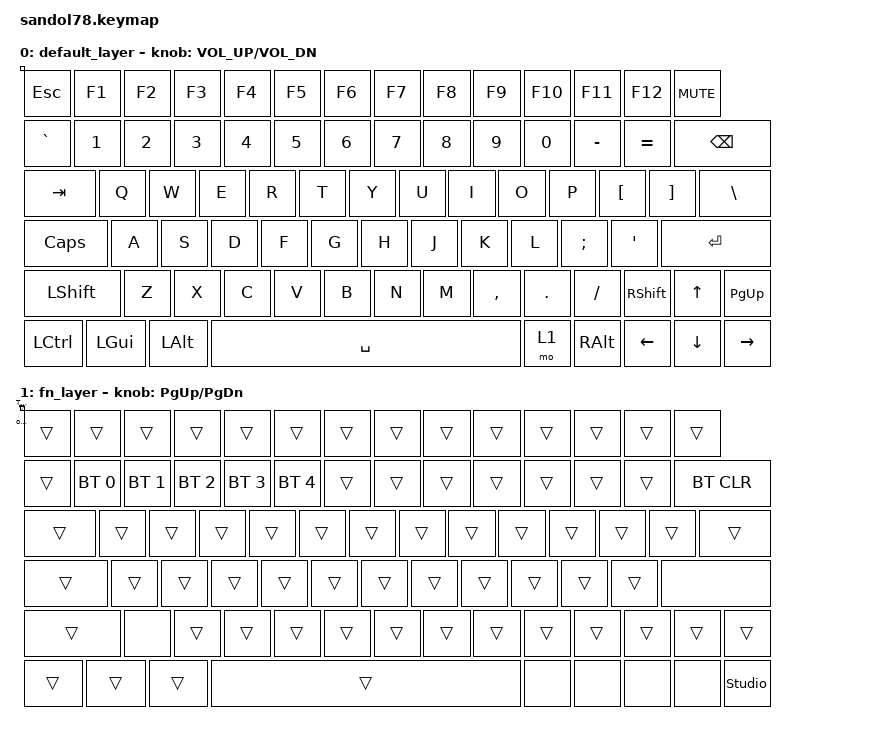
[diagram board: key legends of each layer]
#include <behaviors.dtsi>
#include <dt-bindings/zmk/keys.h>
#include <dt-bindings/zmk/bt.h>
#include <dt-bindings/zmk/outputs.h>

/ {
    keymap {
        compatible = "zmk,keymap";

        default_layer {
            bindings = <
                &kp ESC   &kp F1    &kp F2    &kp F3    &kp F4    &kp F5    &kp F6    &kp F7    &kp F8    &kp F9    &kp F10   &kp F11   &kp F12   &kp C_MUTE
                &kp GRAVE &kp N1    &kp N2    &kp N3    &kp N4    &kp N5    &kp N6    &kp N7    &kp N8    &kp N9    &kp N0    &kp MINUS &kp EQUAL &kp BSPC
                &kp TAB   &kp Q     &kp W     &kp E     &kp R     &kp T     &kp Y     &kp U     &kp I     &kp O     &kp P     &kp LBKT  &kp RBKT  &kp BSLH
                &kp CLCK  &kp A     &kp S     &kp D     &kp F     &kp G     &kp H     &kp J     &kp K     &kp L     &kp SEMI  &kp SQT   &none     &kp ENTER
                &kp LSHFT &kp Z     &kp X     &kp C     &kp V     &kp B     &kp N     &kp M     &kp COMMA &kp DOT   &kp FSLH  &kp RSHFT &kp UP    &kp PG_UP
                &kp LCTRL &kp LGUI  &kp LALT  &none     &none     &kp SPACE &none     &none     &none     &mo 1     &kp RALT  &kp LEFT  &kp DOWN  &kp RIGHT
            >;

            sensor-bindings = <&inc_dec_kp C_VOL_UP C_VOL_DN>;
        };

        fn_layer {
            bindings = <
                &trans    &trans    &trans    &trans    &trans    &trans    &trans    &trans    &trans    &trans    &trans    &trans    &trans    &trans
                &trans    &bt BT_SEL 0 &bt BT_SEL 1 &bt BT_SEL 2 &bt BT_SEL 3 &bt BT_SEL 4 &trans &trans &trans &trans &trans &trans &trans &bt BT_CLR
                &trans    &trans    &trans    &trans    &trans    &trans    &trans    &trans    &trans    &trans    &trans    &trans    &trans    &trans
                &trans    &trans    &trans    &trans    &trans    &trans    &trans    &trans    &trans    &trans    &trans    &trans    &trans    &none
                &trans    &none     &trans    &trans    &trans    &trans    &trans    &trans    &trans    &trans    &trans    &trans    &trans    &trans
                &trans    &trans    &trans                      &out OUT_TOG                    &trans    &trans    &trans    &trans    &trans    &none &none &none &none &studio_unlock
            >;

            sensor-bindings = <&inc_dec_kp PG_UP PG_DN>;
        };
    };
};
